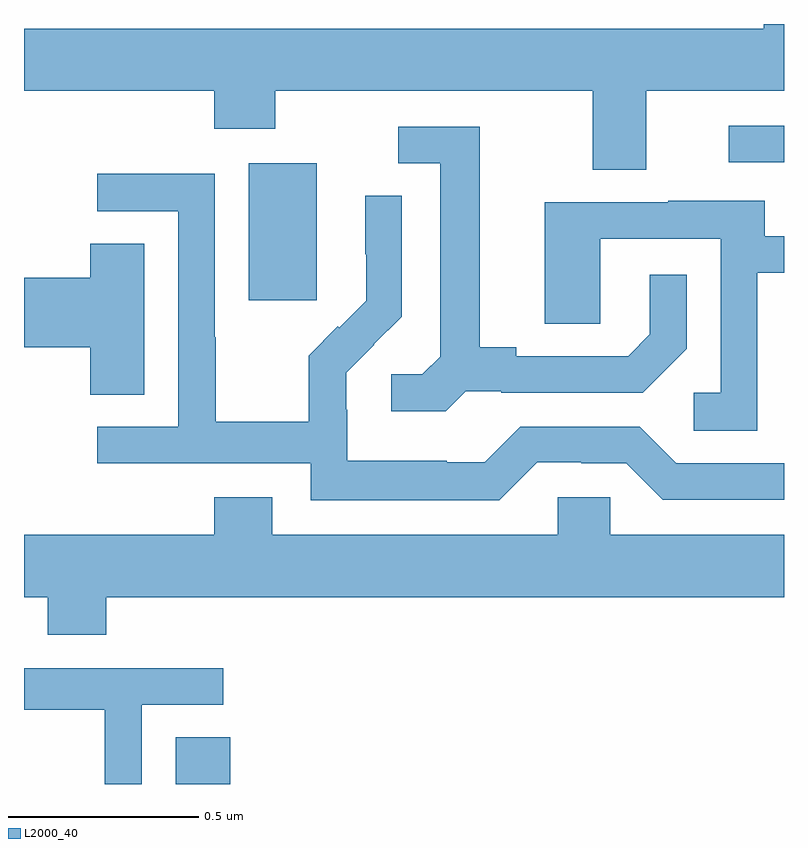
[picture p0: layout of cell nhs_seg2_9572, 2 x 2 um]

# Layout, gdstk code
import gdstk
lib = gdstk.Library(unit=1e-6, precision=1e-09)
def R(c, l, rs):  # rectangles x0, y0, x1, y1
    for r in rs: c.add(gdstk.rectangle(r[:2], r[2:], *l))
def P(c, l, *ps):  # polygons
    for p in ps: c.add(gdstk.Polygon(p, *l))
L2000_40 = (2000, 40)

nhs_seg2_9572 = lib.new_cell('nhs_seg2_9572')
R(nhs_seg2_9572, L2000_40, [(230.399,657.8,230.543,657.923), (230.591,659.073,230.77,659.434), (231.855,659.436,232,659.532)])
P(nhs_seg2_9572, L2000_40, [(231.637,659.624),(232,659.624),(232,659.8),(231.947,659.8),(231.947,659.788),(230,659.788),(230,659.624),(230.501,659.624),(230.501,659.525),(230.661,659.525),(230.661,659.624),(231.497,659.624),(231.497,659.416),(231.637,659.416)],
  [(231.162,658.833),(231.256,658.833),(231.256,658.83),(231.628,658.83),(231.744,658.946),(231.744,659.14),(231.647,659.14),(231.647,658.983),(231.59,658.926),(231.295,658.926),(231.295,658.949),(231.199,658.949),(231.199,659.529),(230.985,659.529),(230.985,659.433),(231.095,659.433),(231.095,658.925),(231.048,658.878),(230.967,658.878),(230.967,658.781),(231.11,658.781)],
  [(231.351,658.647),(231.467,658.647),(231.467,658.644),(231.585,658.644),(231.681,658.548),(232,658.548),(232,658.644),(231.717,658.644),(231.621,658.74),(231.306,658.74),(231.213,658.647),(231.113,658.647),(231.113,658.651),(230.85,658.651),(230.85,658.785),(230.848,658.785),(230.848,658.882),(230.922,658.956),(230.921,658.957),(230.994,659.03),(230.994,659.348),(230.898,659.348),(230.898,659.194),(230.9,659.194),(230.9,659.072),(230.829,659.001),(230.826,659.004),(230.749,658.927),(230.749,658.753),(230.505,658.753),(230.505,658.976),(230.502,658.976),(230.502,659.406),(230.193,659.406),(230.193,659.307),(230.406,659.307),(230.406,658.74),(230.193,658.74),(230.193,658.644),(230.754,658.644),(230.754,658.547),(231.251,658.547)],
  [(231.93,659.145),(232,659.145),(232,659.241),(231.949,659.241),(231.949,659.335),(231.695,659.335),(231.695,659.331),(231.371,659.331),(231.371,659.011),(231.516,659.011),(231.516,659.235),(231.834,659.235),(231.834,658.83),(231.762,658.83),(231.762,658.729),(231.93,658.729)],
  [(230.317,659.222),(230.174,659.222),(230.174,659.132),(230,659.132),(230,658.949),(230.174,658.949),(230.174,658.825),(230.317,658.825)],
  [(230.216,658.292),(232,658.292),(232,658.456),(231.543,658.456),(231.543,658.554),(231.405,658.554),(231.405,658.456),(230.653,658.456),(230.653,658.555),(230.501,658.555),(230.501,658.456),(230,658.456),(230,658.292),(230.063,658.292),(230.063,658.193),(230.216,658.193)],
  [(230.31,658.008),(230.524,658.008),(230.524,658.104),(230,658.104),(230,657.996),(230.212,657.996),(230.212,657.8),(230.31,657.8)])

lib.write_gds('nhs_seg2_9572.gds')
